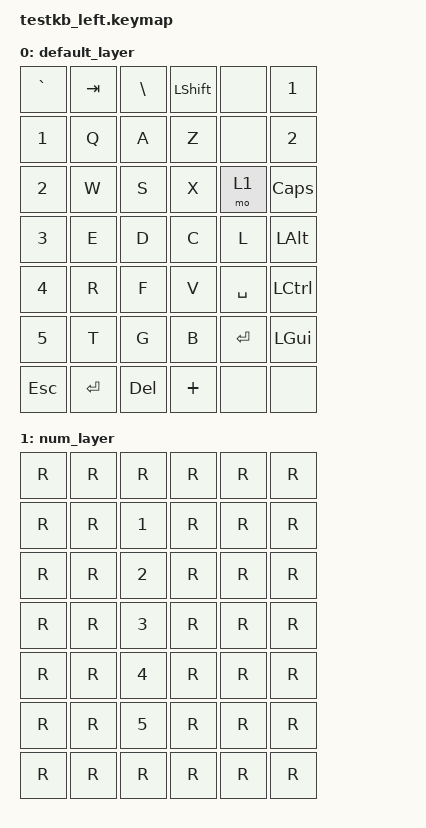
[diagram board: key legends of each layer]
#include <behaviors.dtsi>
#include <dt-bindings/zmk/keys.h>

/ {
    keymap {
        compatible = "zmk,keymap";

        default_layer {
            // Layout preview (left half)
            // |  `   |  TAB  |   \\   |  SHIFT |   +   |  LGUI  |
            // |  1   |   Q   |   A   |   Z    |   -   |  LCTRL |
            // |  2   |   W   |   S   |   X    |  SPC  |  LALT  |
            // |  3   |   E   |   D   |   C    |  ENT  | K_MUTE |
            // |  4   |   R   |   F   |   V    | empty | empty  |
            // |  5   |   T   |   G   |   B    | empty | empty  |
            // |  ESC |  ENT  |  DEL  |   +    | empty | empty  |
            bindings = <
                &kp GRAVE  &kp TAB    &kp BSLH   &kp LSHIFT &none   &kp N1
                &kp N1      &kp Q      &kp A      &kp Z      &none  &kp N2
                &kp N2      &kp W      &kp S      &kp X      &mo 1  &kp CAPSLOCK
                &kp N3      &kp E      &kp D      &kp C      &kp L  &kp LALT
                &kp N4      &kp R      &kp F      &kp V      &kp SPACE      &kp LCTRL
                &kp N5      &kp T      &kp G      &kp B      &kp ENTER      &kp LGUI
                &kp ESC    &kp ENTER  &kp DEL    &kp PLUS   &none &none
            >;
        };
        num_layer {
            bindings = <
                &kp R  &kp R  &kp R  &kp R  &kp R  &kp R
                &kp R  &kp R  &kp N1  &kp R  &kp R  &kp R
                &kp R  &kp R  &kp N2  &kp R  &kp R  &kp R
                &kp R  &kp R  &kp N3  &kp R  &kp R  &kp R
                &kp R  &kp R  &kp N4  &kp R  &kp R  &kp R
                &kp R  &kp R  &kp N5  &kp R  &kp R  &kp R
                &kp R  &kp R  &kp R  &kp R  &kp R  &kp R
            >; 
        };
    };
};
